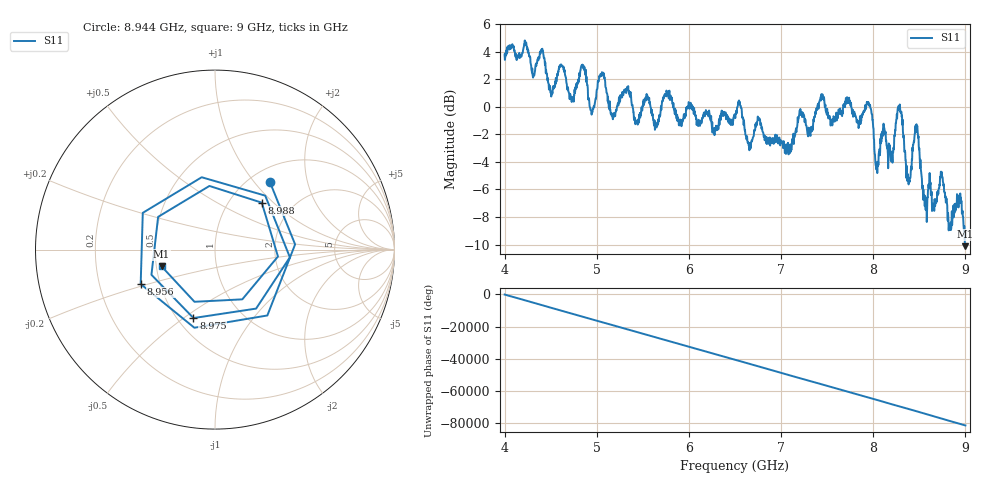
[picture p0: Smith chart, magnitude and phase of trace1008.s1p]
! Created with skrf 1.8.0 (http://scikit-rf.org).
# Hz S RI R 50.0
!freq ReS11 ImS11
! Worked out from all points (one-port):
!   1601 points, 4 GHz to 9 GHz, reference 50 ohm
!   lowest |S11| = -10.1 dB at 9 GHz (marker M1), VSWR 1.91, Z = 26.7 - j5.51 ohm
!   |S11| at or under -10 dB: 8.993992 GHz to end of sweep
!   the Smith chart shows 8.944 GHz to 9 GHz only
!   S11 on the Smith chart (normalised r, x): 8.944 GHz: 1.23, +1.21; 8.956 GHz: 0.39, -0.19; 8.975 GHz: 0.60, -0.55; 8.988 GHz: 1.40, +0.85; 9 GHz: 0.53, -0.11
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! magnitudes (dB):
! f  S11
! 4 GHz  3.8
! 4.406 GHz  4.2
! 4.506 GHz  0.7
! 4.625 GHz  3.0
! 4.728 GHz  0.3
! 4.856 GHz  2.8
! 4.947 GHz  -0.4
! 5.053 GHz  2.2
! 5.169 GHz  -0.7
! 5.25 GHz  0.8
! 5.875 GHz  -1.0
! 6.5 GHz  -0.6
! 7.125 GHz  -2.5
! 7.441 GHz  0.8
! 7.75 GHz  0.3
! 7.956 GHz  0.1
! 8.041 GHz  -4.5
! 8.109 GHz  -1.4
! 8.2 GHz  -3.5
! 8.288 GHz  0.2
! 8.375 GHz  -5.3
! 8.466 GHz  -1.4
! 8.566 GHz  -6.7
! 8.944 GHz  -6.3
! 8.956 GHz  -6.8
! 8.975 GHz  -8.0
! 8.988 GHz  -8.7
! 9 GHz  -10.1
